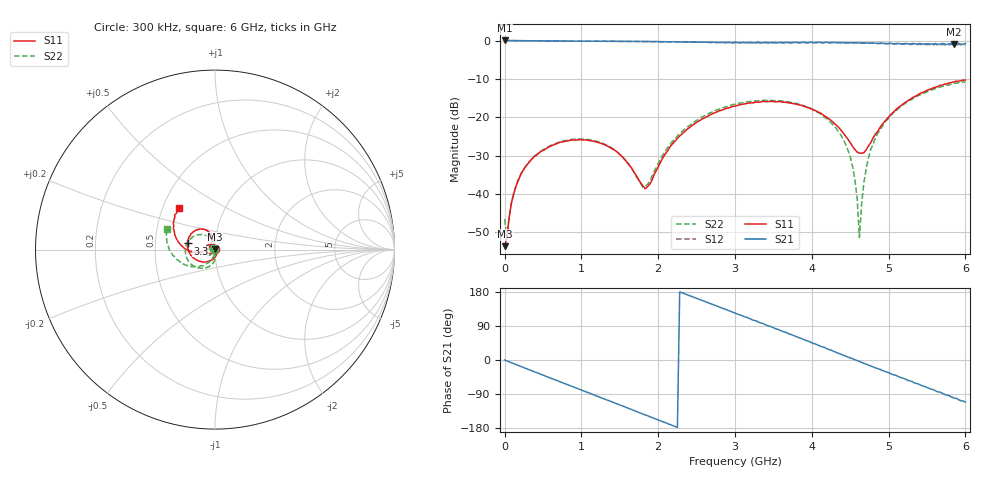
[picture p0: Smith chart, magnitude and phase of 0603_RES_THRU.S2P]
!Agilent Technologies,E5071C,MY46106283,A.09.10
!Date: Tue Jan 23 23:39:55 2001
!Data & Calibration Information:
!Freq	S11:SOLT2(ON)	S41:SOLT2(ON)	S14:SOLT2(ON)	S44:SOLT2(ON)
# Hz S dB R 50
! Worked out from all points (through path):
!   201 points, 300 kHz to 6 GHz, reference 50 ohm
!   highest |S21| = 0.02 dB at 300 kHz (marker M1); lowest = -1.0 dB at 5.85 GHz (marker M2)
!   group delay of S21, straight-line fit = 218 ps
!   lowest |S11| = -53.6 dB at 300 kHz (marker M3), VSWR 1.00, Z = 49.9 + j0.149 ohm
!   |S11| at or under -10 dB: start of sweep to end of sweep
!   |S22| runs from -51.4 to -10.7 dB; largest |S21 - S12| = 0.032
!   S11 on the Smith chart (normalised r, x): 300 kHz: 1.00, +0.00; 3.3 GHz: 0.73, +0.05; 6 GHz: 0.61, +0.31
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300000  -53.64 134.1  0.02 -0.1  0.00 -0.3  -46.57 139.5
3.02985e7  -51.46 -90.0  -0.01 -2.5  -0.01 -2.5  -51.30 -85.5
1.20294e8  -39.92 -102.8  -0.03 -9.7  -0.03 -9.7  -39.82 -97.4
2.702865e8  -33.01 -118.7  -0.05 -21.7  -0.05 -21.7  -32.91 -110.0
1.020249e9  -25.94 165.3  -0.18 -80.9  -0.19 -80.9  -25.72 -158.9
1.470226e9  -29.16 115.4  -0.20 -116.2  -0.21 -116.1  -29.16 178.4
1.80021e9  -37.86 35.0  -0.25 -142.5  -0.26 -142.4  -38.25 -147.3
2.0102e9  -32.51 -61.9  -0.30 -159.0  -0.31 -159.0  -31.67 -88.1
2.490176e9  -21.48 -125.4  -0.42 163.4  -0.42 163.3  -20.99 -104.4
3.00015e9  -17.11 -169.4  -0.46 124.0  -0.52 124.0  -16.66 -139.5
3.300135e9  -16.11 167.3  -0.42 100.7  -0.54 100.8  -15.73 -162.1
4.020099e9  -18.05 117.3  -0.55 43.7  -0.56 44.1  -18.09 138.4
4.470076e9  -25.71 108.3  -0.57 8.2  -0.58 8.1  -28.57 96.8
4.560072e9  -28.40 121.9  -0.59 0.9  -0.61 0.8  -36.07 85.4
4.59007e9  -29.08 129.9  -0.60 -1.5  -0.62 -1.6  -41.08 77.4
4.620069e9  -29.37 140.2  -0.62 -3.9  -0.63 -4.1  -51.37 8.1
4.680066e9  -29.24 159.9  -0.64 -8.5  -0.66 -8.8  -36.85 -88.4
4.740063e9  -27.42 175.7  -0.67 -13.6  -0.68 -13.8  -30.42 -98.3
5.01005e9  -19.72 -171.0  -0.71 -34.3  -0.82 -34.7  -20.13 -123.6
5.430028e9  -13.65 168.4  -0.86 -67.7  -1.02 -67.9  -13.92 -157.9
5.850008e9  -10.82 141.3  -1.01 -100.2  -1.14 -100.0  -11.20 168.1
6e9  -10.31 130.9  -0.76 -111.2  -1.04 -110.4  -10.72 157.3
